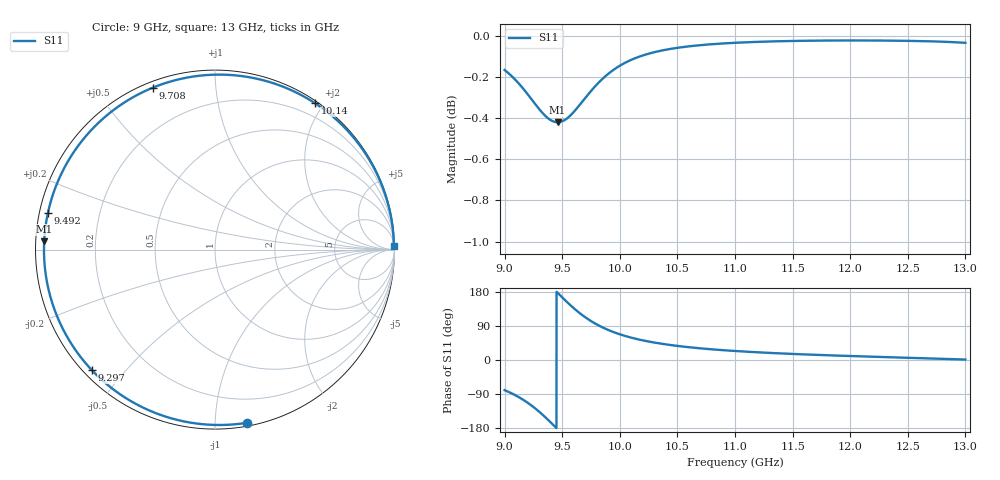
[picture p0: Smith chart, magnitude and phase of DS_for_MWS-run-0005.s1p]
! TOUCHSTONE file generated by CST DESIGN STUDIO
! Date and time: Tue Feb  4 17:03:18 2025
! Project name: C:\Work\MatlabApps\UnitCellOptimizationMatlab\CST\unitcell.cst
! Tree item: Tasks\Sweep1\SPara1\S-Parameters
! Header version: 2024
! Port assignment regex: !\s*Touchstone port\s*([0-9]+)\s*=\s*(CST MWS port|CST DES external port|CST DES block port)\s*(.+)\s* \(\"(.*)\"\)(\s*mode\s*([0-9]+))?.*
! Touchstone port assignment:
! Touchstone port 1 = CST DES external port 1 ("")
# GHz S MA R 50
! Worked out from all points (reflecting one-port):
!   4001 points, 9 GHz to 13 GHz, reference 50 ohm
!   lowest |S11| = -0.4 dB at 9.46 GHz (marker M1), VSWR 41.40, Z = 1.21 + j1.2 ohm
!   phase of S11 starts at -80 deg and turns -279 deg over the sweep
!   S11 on the Smith chart (normalised r, x): 9 GHz: 0.02, -1.20; 9.297 GHz: 0.02, -0.41; 9.492 GHz: 0.02, +0.11; 9.708 GHz: 0.03, +0.69; 10.14 GHz: 0.03, +1.89; 13 GHz: 16, +90
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9  0.9811 -79.6
9.073  0.977 -89.8
9.168  0.9704 -106.2
9.235  0.9651 -120.4
9.297  0.9601 -135.6
9.34  0.9571 -147.2
9.385  0.9546 -160.2
9.423  0.9533 -171.5
9.46  0.9528 177.3
9.492  0.9532 167.6
9.5  0.9533 165.2
9.549  0.9552 150.8
9.606  0.9587 135.2
9.656  0.9624 122.7
9.708  0.9665 111.1
9.764  0.9707 100.1
9.828  0.9749 89.3
9.912  0.9796 77.7
10  0.9834 67.8
10.142  0.9878 55.7
10.304  0.991 45.8
10.5  0.9934 37.2
10.722  0.995 30.1
11  0.9961 23.8
11.5  0.9972 16.0
12  0.9975 10.5
12.5  0.9972 5.9
13  0.9961 1.2
